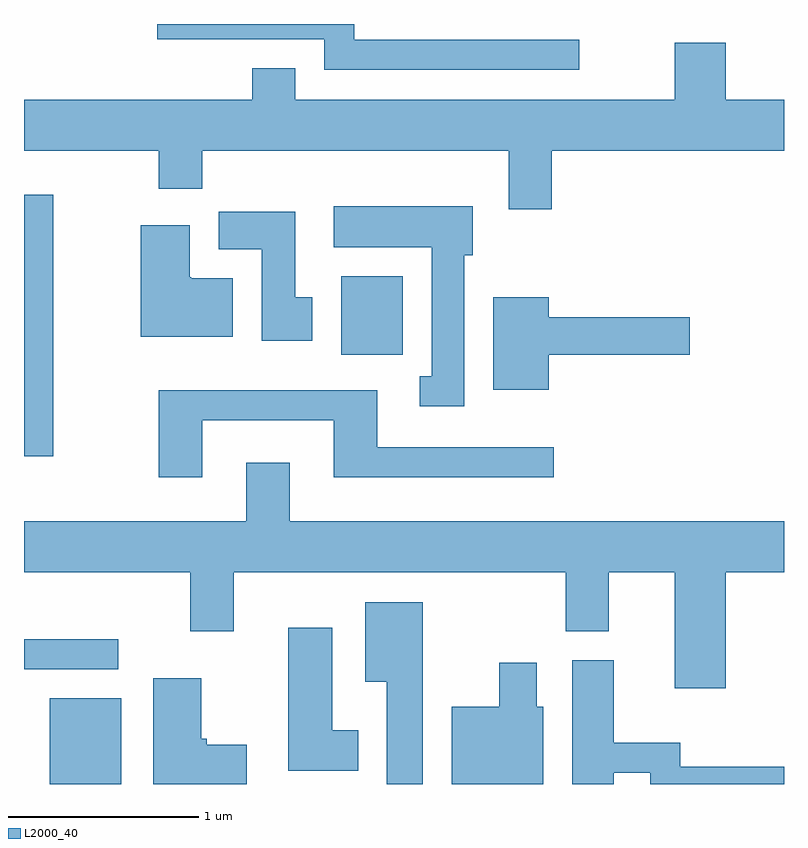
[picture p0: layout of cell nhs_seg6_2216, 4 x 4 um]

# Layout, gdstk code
import gdstk
lib = gdstk.Library(unit=1e-6, precision=1e-09)
def R(c, l, rs):  # rectangles x0, y0, x1, y1
    for r in rs: c.add(gdstk.rectangle(r[:2], r[2:], *l))
def P(c, l, *ps):  # polygons
    for p in ps: c.add(gdstk.Polygon(p, *l))
L2000_40 = (2000, 40)

nhs_seg6_2216 = lib.new_cell('nhs_seg6_2216')
R(nhs_seg6_2216, L2000_40, [(251.746,1642.162,252.124,1642.614), (251.611,1642.766,252.108,1642.924), (251.611,1643.886,251.764,1645.264), (253.281,1644.421,253.604,1644.834)])
P(nhs_seg6_2216, L2000_40, [(254.533,1646.079),(253.349,1646.079),(253.349,1646.162),(252.313,1646.162),(252.313,1646.081),(253.191,1646.081),(253.191,1645.921),(254.533,1645.921)],
  [(254.389,1645.496),(255.611,1645.496),(255.611,1645.764),(255.304,1645.764),(255.304,1646.064),(255.036,1646.064),(255.036,1645.764),(253.039,1645.764),(253.039,1645.929),(252.811,1645.929),(252.811,1645.764),(251.611,1645.764),(251.611,1645.496),(252.321,1645.496),(252.321,1645.296),(252.549,1645.296),(252.549,1645.496),(254.161,1645.496),(254.161,1645.186),(254.389,1645.186)],
  [(253.929,1644.946),(253.974,1644.946),(253.974,1645.204),(253.241,1645.204),(253.241,1644.986),(253.756,1644.986),(253.756,1644.309),(253.693,1644.309),(253.693,1644.151),(253.929,1644.151)],
  [(253.129,1644.724),(253.039,1644.724),(253.039,1645.174),(252.636,1645.174),(252.636,1644.976),(252.861,1644.976),(252.861,1644.496),(253.129,1644.496)],
  [(252.709,1644.824),(252.49,1644.824),(252.49,1644.83),(252.484,1644.83),(252.484,1645.104),(252.226,1645.104),(252.226,1644.516),(252.709,1644.516)],
  [(254.374,1644.421),(255.114,1644.421),(255.114,1644.619),(254.374,1644.619),(254.374,1644.724),(254.081,1644.724),(254.081,1644.236),(254.374,1644.236)],
  [(252.549,1644.076),(253.241,1644.076),(253.241,1643.776),(254.398,1643.776),(254.398,1643.934),(253.469,1643.934),(253.469,1644.234),(252.321,1644.234),(252.321,1643.776),(252.549,1643.776)],
  [(255.304,1643.276),(255.611,1643.276),(255.611,1643.544),(253.009,1643.544),(253.009,1643.854),(252.781,1643.854),(252.781,1643.544),(251.611,1643.544),(251.611,1643.276),(252.486,1643.276),(252.486,1642.966),(252.714,1642.966),(252.714,1643.276),(254.461,1643.276),(254.461,1642.966),(254.689,1642.966),(254.689,1643.276),(255.036,1643.276),(255.036,1642.666),(255.304,1642.666)],
  [(253.709,1643.119),(253.406,1643.119),(253.406,1642.701),(253.521,1642.701),(253.521,1642.162),(253.709,1642.162)],
  [(253.369,1642.444),(253.234,1642.444),(253.234,1642.984),(253.001,1642.984),(253.001,1642.231),(253.369,1642.231)],
  [(254.714,1642.221),(254.906,1642.221),(254.906,1642.162),(255.611,1642.162),(255.611,1642.254),(255.064,1642.254),(255.064,1642.379),(254.714,1642.379),(254.714,1642.814),(254.496,1642.814),(254.496,1642.162),(254.714,1642.162)],
  [(254.344,1642.569),(254.309,1642.569),(254.309,1642.799),(254.111,1642.799),(254.111,1642.569),(253.861,1642.569),(253.861,1642.162),(254.344,1642.162)],
  [(252.784,1642.369),(252.574,1642.369),(252.574,1642.399),(252.544,1642.399),(252.544,1642.719),(252.291,1642.719),(252.291,1642.162),(252.784,1642.162)])

lib.write_gds('nhs_seg6_2216.gds')
